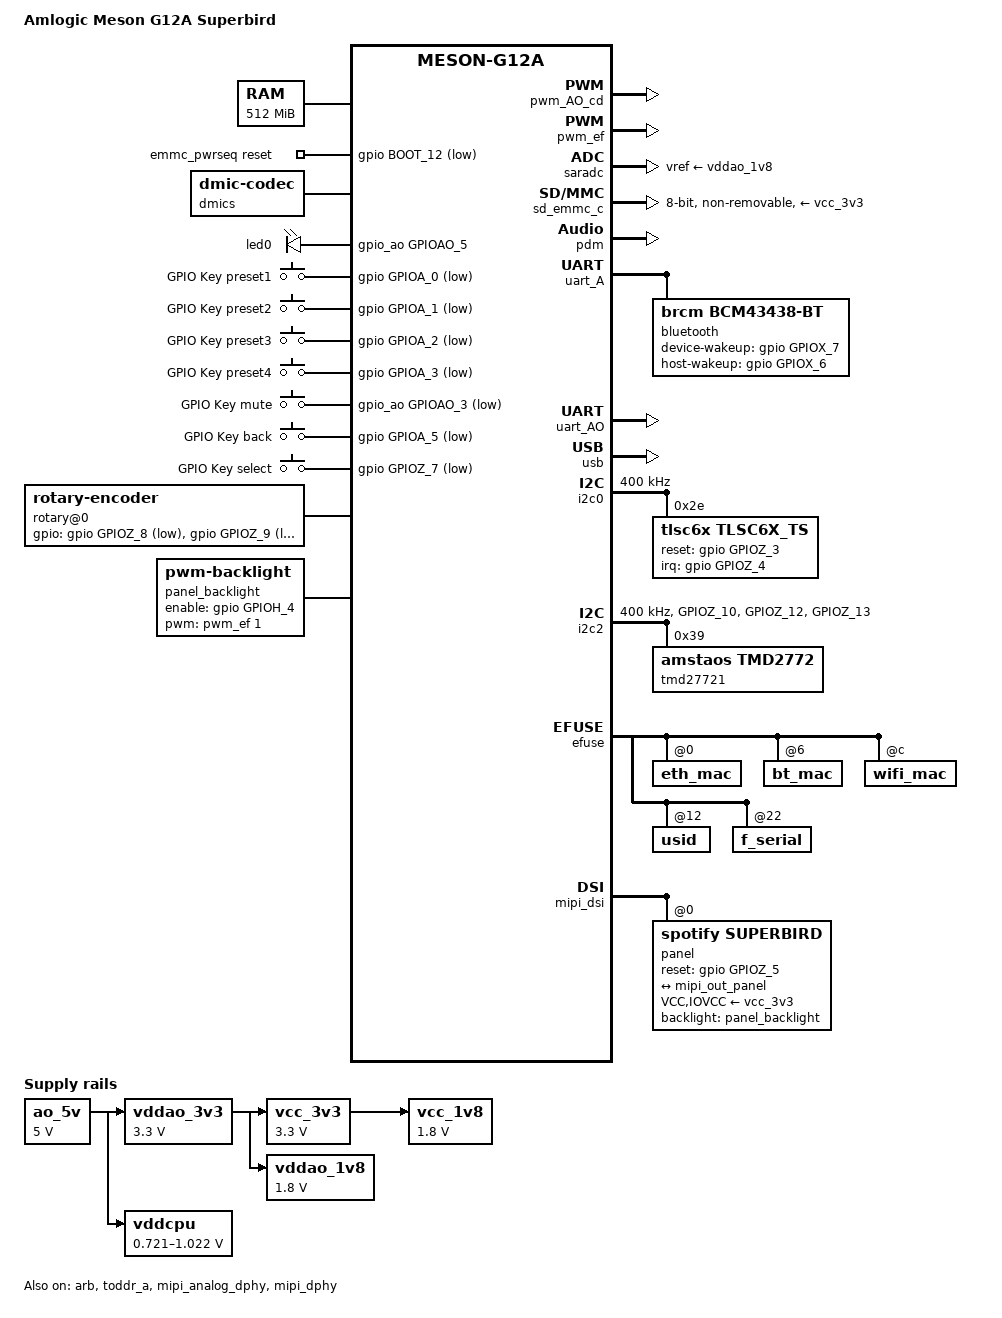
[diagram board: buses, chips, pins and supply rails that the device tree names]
// SPDX-License-Identifier: (GPL-2.0+ OR MIT)
/*
 * Copyright (c) 2018 BayLibre SAS. All rights reserved.
 */

/dts-v1/;

#include "meson-g12a.dtsi"
#include <dt-bindings/gpio/meson-g12a-gpio.h>

/ {
	compatible = "amlogic,u200", "amlogic,g12a";
	model = "Amlogic Meson G12A Superbird";

	aliases {
		serial0 = &uart_AO;
	};

	chosen {
		stdout-path = "serial0:115200n8";
	};

	memory@0 {
		device_type = "memory";
		reg = <0x0 0x0 0x0 0x20000000>;
	};

	emmc_pwrseq: emmc-pwrseq {
		compatible = "mmc-pwrseq-emmc";
		reset-gpios = <&gpio BOOT_12 GPIO_ACTIVE_LOW>;
	};

	ao_5v: regulator-ao-5v {
		compatible = "regulator-fixed";
		regulator-name = "AO_5V";
		regulator-min-microvolt = <5000000>;
		regulator-max-microvolt = <5000000>;
		regulator-always-on;
	};

	vcc_1v8: regulator-vcc-1v8 {
		compatible = "regulator-fixed";
		regulator-name = "VCC_1V8";
		regulator-min-microvolt = <1800000>;
		regulator-max-microvolt = <1800000>;
		vin-supply = <&vcc_3v3>;
		regulator-always-on;
	};

	vcc_3v3: regulator-vcc-3v3 {
		compatible = "regulator-fixed";
		regulator-name = "VCC_3V3";
		regulator-min-microvolt = <3300000>;
		regulator-max-microvolt = <3300000>;
		vin-supply = <&vddao_3v3>;
		regulator-always-on;
	};

	vddao_1v8: regulator-vddao-1v8 {
		compatible = "regulator-fixed";
		regulator-name = "VDDAO_1V8";
		regulator-min-microvolt = <1800000>;
		regulator-max-microvolt = <1800000>;
		vin-supply = <&vddao_3v3>;
		regulator-always-on;
	};

	vddao_3v3: regulator-vddao-3v3 {
		compatible = "regulator-fixed";
		regulator-name = "VDDAO_3V3";
		regulator-min-microvolt = <3300000>;
		regulator-max-microvolt = <3300000>;
		vin-supply = <&ao_5v>;
		regulator-always-on;
	};

	vddcpu: regulator-vddcpu {
		compatible = "pwm-regulator";

		regulator-name = "VDDCPU";
		regulator-min-microvolt = <721000>;
		regulator-max-microvolt = <1022000>;

		vin-supply = <&ao_5v>;

		pwms = <&pwm_AO_cd 1 1250 0>;
		pwm-dutycycle-range = <100 0>;

		regulator-boot-on;
		regulator-always-on;
	};

	dmics: audio-codec {
		#sound-dai-cells = <0>;
		compatible = "dmic-codec";
		num-channels = <4>;
		wakeup-delay-ms = <50>;
		status = "okay";
		sound-name-prefix = "MIC";
	};

	gpioleds {
		compatible = "gpio-leds";
		status = "okay";
		led0 {
			gpios = <&gpio_ao GPIOAO_5 GPIO_ACTIVE_HIGH>;
			default-state = "on";
		};
	};

	gpio-keys {
		compatible = "gpio-keys-polled";
		poll-interval = <40>;
		status = "okay";

		pinctrl-0=<&superbird_buttons>, <&superbird_buttons_ao>;
		pinctrl-names="default";

		preset1 {
			label = "GPIO Key preset1";
			linux,code = <2>;
			gpios = <&gpio GPIOA_0 GPIO_ACTIVE_LOW>;
		};

		preset2 {
			label = "GPIO Key preset2";
			linux,code = <3>;
			gpios = <&gpio GPIOA_1 GPIO_ACTIVE_LOW>;
		};

		preset3 {
			label = "GPIO Key preset3";
			linux,code = <4>;
			gpios = <&gpio GPIOA_2 GPIO_ACTIVE_LOW>;
		};

		preset4 {
			label = "GPIO Key preset4";
			linux,code = <5>;
			gpios = <&gpio GPIOA_3 GPIO_ACTIVE_LOW>;
		};

		mute {
			label = "GPIO Key mute";
			linux,code = <50>;
			gpios = <&gpio_ao GPIOAO_3 GPIO_ACTIVE_LOW>;
		};

		back {
			label = "GPIO Key back";
			linux,code = <1>;
			gpios = <&gpio GPIOA_5 GPIO_ACTIVE_LOW>;
		};

		select {
			label = "GPIO Key select";
			linux,code = <28>;
			gpios = <&gpio GPIOZ_7 GPIO_ACTIVE_LOW>;
		};
	};

	rotary@0 {
		compatible = "rotary-encoder";

		pinctrl-0 = <&superbird_rotary>;
		pinctrl-names = "default";

		gpios = <&gpio GPIOZ_8 GPIO_ACTIVE_LOW>, 
			<&gpio GPIOZ_9 GPIO_ACTIVE_LOW>;
		
		linux,axis = <6>; /* REL_HWHEEL */
		rotary-encoder,encoding = "gray";
		rotary-encoder,relative-axis;
		rotary-encoder,steps-per-period = <2>;
		wakeup-source = <0>;
	};

	sound {
		compatible = "amlogic,axg-sound-card";
		model = "SUPERBIRD";
		// audio-aux-devs = <&pdm>;
		audio-routing =
			"TODDR_A IN 4", "PDM Capture";

		assigned-clocks = <&clkc CLKID_MPLL2>,
				  <&clkc CLKID_MPLL0>,
				  <&clkc CLKID_MPLL1>;
		assigned-clock-parents = <0>, <0>, <0>;
		assigned-clock-rates = <294912000>,
				       <270950400>,
				       <393216000>;
		status = "okay";

		dai-link-0 {
			sound-dai = <&toddr_a>;
		};

		dai-link-1 {
			sound-dai = <&pdm>;

			codec {
				sound-dai = <&dmics>;
			};
		};
	};

	panel_backlight: backlight {
		compatible = "pwm-backlight";
		pwms = <&pwm_ef 1 30040 0>;

		brightness-levels = <0 255>;
		num-interpolated-steps = <255>;
		default-brightness-level = <100>;

		enable-gpios = <&gpio GPIOH_4 GPIO_ACTIVE_HIGH>;
		post-pwm-on-delay-ms = <10>;
		pwm-off-delay-ms = <10>;
	};
};

&arb {
	status = "okay";
};

&clkc_audio {
	status = "okay";
};

&cpu0 {
	cpu-supply = <&vddcpu>;
	operating-points-v2 = <&cpu_opp_table>;
	clocks = <&clkc CLKID_CPU_CLK>;
};

&cpu1 {
	cpu-supply = <&vddcpu>;
	operating-points-v2 = <&cpu_opp_table>;
	clocks = <&clkc CLKID_CPU_CLK>;
};

&cpu2 {
	cpu-supply = <&vddcpu>;
	operating-points-v2 = <&cpu_opp_table>;
	clocks = <&clkc CLKID_CPU_CLK>;
};

&cpu3 {
	cpu-supply = <&vddcpu>;
	operating-points-v2 = <&cpu_opp_table>;
	clocks = <&clkc CLKID_CPU_CLK>;
};

&pwm_AO_cd {
	pinctrl-0 = <&pwm_ao_d_e_pins>;
	pinctrl-names = "default";
	status = "okay";
};

&pwm_ef {
	status = "okay";
	pinctrl-0 = <&pwm_f_h_pins>;
	pinctrl-names = "default";
};

&saradc {
	status = "okay";
	vref-supply = <&vddao_1v8>;
};

/* eMMC */
&sd_emmc_c {
	status = "okay";
	pinctrl-0 = <&emmc_ctrl_pins>, <&emmc_data_8b_pins>, <&emmc_ds_pins>;
	pinctrl-1 = <&emmc_clk_gate_pins>;
	pinctrl-names = "default", "clk-gate";

	bus-width = <8>;
	cap-mmc-highspeed;
	mmc-ddr-1_8v;
	mmc-hs200-1_8v;
	max-frequency = <200000000>;
	non-removable;
	disable-wp;

	mmc-pwrseq = <&emmc_pwrseq>;
	vmmc-supply = <&vcc_3v3>;
	vqmmc-supply = <&vcc_1v8>;
};

&toddr_a {
	status = "okay";
};

&pdm {
	pinctrl-0 = <&pdm_dclk_a_pins>, <&pdm_din0_a_pins>, <&pdm_din1_a_pins>;
	pinctrl-names = "default";
	status = "okay";
};

/* pinctrl */
&ao_pinctrl {
	superbird_buttons_ao: superbird_buttons_ao {
		mux {
			groups = "GPIOAO_3";
			bias-disable;
			input-enable;
		};
	};
};

&periphs_pinctrl {
	// Buttons
	superbird_buttons: superbird_buttons {
		mux { /* GPIOA_5 GPIOA_6 */
			groups = "GPIOA_0",
				"GPIOA_1",
				"GPIOA_2",
				"GPIOA_3",
				// "GPIOAO_3",
				"GPIOA_5";
			bias-disable;
			input-enable;
		};
	};

	superbird_rotary: superbird_rotary {
		mux {
			groups = "GPIOZ_7", 
				"GPIOZ_8",
				"GPIOZ_9";
			bias-disable;
			input-enable;
		};
	};

	// IIO Sensors
	superbird_prox_gpio: superbird_prox_gpio {
		mux {
			groups = "GPIOZ_10";
			bias-pull-down;
		};
	};

	superbird_imu_gpio: superbird_imu_gpio {
		mux {
			groups = "GPIOZ_12", "GPIOZ_13";
			bias-pull-down;
		};
	};

	// Bluetooth
	bt_reg_on: bt_reg_on {
		mux {
			groups = "GPIOX_17";
			bias-pull-up;
		};
	};

	// superbird_mfi_i2c_pins: superbird_mfi_i2c_pins {
	// 	mux {
	// 		groups = "i2c3_sda_a", "i2c3_sck_a";
	// 		function = "i2c3";
	// 		bias-disable;
	// 		drive-strength = <2>;
	// 	};
	// };
};

/* uart */
&uart_A {
	status = "okay";
	pinctrl-0 = <&uart_a_pins>, <&uart_a_cts_rts_pins>;
	pinctrl-names = "default";
	uart-has-rtscts;

	bluetooth {
		compatible = "brcm,bcm43438-bt";
		max-speed = <3000000>;
		// shutdown-gpios = <&gpio GPIOX_17 GPIO_ACTIVE_HIGH>;
		device-wakeup-gpios = <&gpio GPIOX_7 GPIO_ACTIVE_HIGH>;
		host-wakeup-gpios = <&gpio GPIOX_6 GPIO_ACTIVE_HIGH>;
		
		pinctrl-0 = <&bt_reg_on>;
		pinctrl-names = "default";

		brcm,no-shutdown-gpio;
		brcm,quirk-broken-read;
	};
};

&uart_AO {
	status = "okay";
	pinctrl-0 = <&uart_ao_a_pins>;
	pinctrl-names = "default";
};

&usb {
	status = "okay";
};

&eth_phy {
	status = "disabled";
};

/* i2c */
&i2c0 {
	status = "okay";
	interrupts = <GIC_SPI 21 IRQ_TYPE_EDGE_RISING>,
		<GIC_SPI 91 IRQ_TYPE_EDGE_RISING>;

	pinctrl-names = "default";
	pinctrl-0 = <&i2c0_sda_z0_pins>, <&i2c0_sck_z1_pins>;
	clock-frequency = <400000>;

	tlsc6x_ts@2e {
		compatible = "tlsc6x,tlsc6x_ts";
		status = "okay";
		reg = <0x2e>;
		reset-gpio = <&gpio GPIOZ_3 GPIO_ACTIVE_HIGH>;
		irq-gpio = <&gpio GPIOZ_4 GPIO_ACTIVE_HIGH>;
		polling-mode = <0>; /*1:polling mode, 0:irq mode*/
		TP_MAX_X = <480>;
		TP_MAX_Y = <800>;
	};
};

&i2c2 {
	status = "okay";
	interrupts = <GIC_SPI 215 IRQ_TYPE_EDGE_RISING>,
		<GIC_SPI 94 IRQ_TYPE_EDGE_RISING>;

	pinctrl-names="default";
	pinctrl-0=<&i2c2_sda_z_pins>, <&i2c2_sck_z_pins>, 
		<&superbird_prox_gpio>, <&superbird_imu_gpio>;

	clock-frequency= <400000>;

	// lis2dh12@18 {
	// 	compatible = "st,lis2dh12-accel";
	// 	reg = <0x18>;
	// };
	
	// max20332@35 {
	// 	reg = <0x35>;
	// };
	
	tmd27721@39 {
		compatible = "amstaos,tmd2772";
		reg = <0x39>;
	};
};

// &i2c3 {
// 	status = "okay";
// 	pinctrl-names="default";
// 	pinctrl-0=<&superbird_mfi_i2c_pins>;
// 	clock-frequency= <400000>;

// 	mfi@10 {
// 		compatible = "apple_mfi_auth";
// 		reg = <0x10>;		
// 	};
// };

/* efuse nvmem */
&efuse {
	eth_mac: eth_mac@0 {
		reg = <0x0 0x06>;
	};

	bt_mac: bt_mac@6 {
		reg = <0x6 0x06>;
	};

	wifi_mac: wifi_mac@12 {
		reg = <0x0c 0x06>;
	};

	usid: usid@18 {
		reg = <0x12 0x10>;
	};

	f_serial: f_serial@34 {
		reg = <0x22 0x0f>;
	};
};

/* MIPI */
&mipi_analog_dphy {
	status = "okay";
};

&mipi_dphy {
	status = "okay";
};

&mipi_dsi {
	status = "okay";

	assigned-clocks = <&clkc CLKID_GP0_PLL>,
			  <&clkc CLKID_MIPI_DSI_PXCLK_SEL>,
			  <&clkc CLKID_MIPI_DSI_PXCLK>,
			  <&clkc CLKID_CTS_ENCL_SEL>,
			  <&clkc CLKID_VCLK2_SEL>;
	assigned-clock-parents = <0>,
				 <&clkc CLKID_GP0_PLL>,
				 <0>,
				 <&clkc CLKID_VCLK2_DIV1>,
				 <&clkc CLKID_GP0_PLL>;
	assigned-clock-rates = <383748000>,
			       <0>,
			       <383748000>,
			       <0>,
			       <0>;

	panel@0 {
		compatible = "spotify,superbird", "sitronix,st7701";
		reg = <0>;
		VCC-supply = <&vcc_3v3>;
		IOVCC-supply = <&vcc_3v3>;
		reset-gpios = <&gpio GPIOZ_5 GPIO_ACTIVE_HIGH>;
		backlight = <&panel_backlight>;

		port {
			mipi_in_panel: endpoint {
				remote-endpoint = <&mipi_out_panel>;
			};
		};
	};
};

&mipi_dsi_panel_port {
	reg = <1>;
	mipi_out_panel: endpoint {
		remote-endpoint = <&mipi_in_panel>;
	};
};

&gpio_intc {
	 compatible = "amlogic,meson-gpio-intc-ext",
					"amlogic,meson-g12a-gpio-intc";
};
